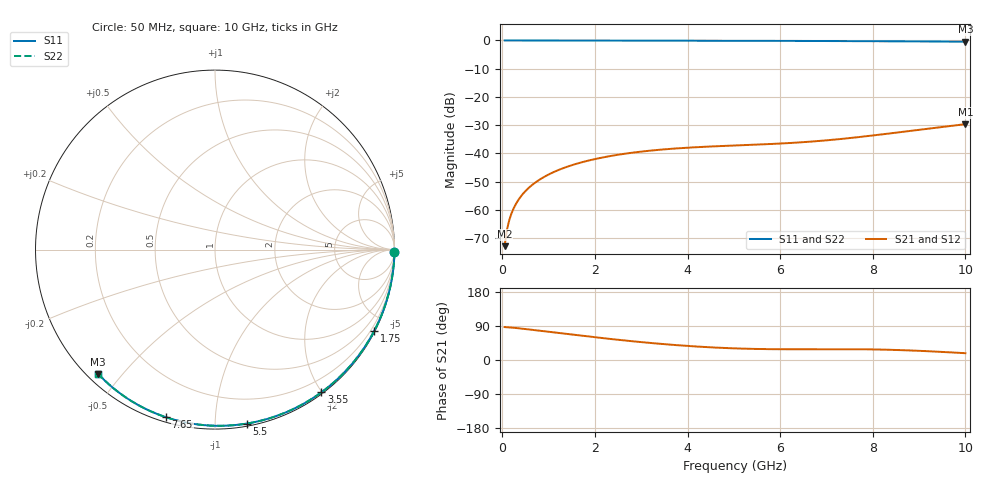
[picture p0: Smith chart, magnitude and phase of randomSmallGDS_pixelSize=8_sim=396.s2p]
! freq	dB(S11)	phase(S11)	dB(S12)	phase(S12)
!  dB(S21)	phase(S21)	dB(S22)	phase(S22)
!S-par simulation data
#  GHz  S  DB  R 50
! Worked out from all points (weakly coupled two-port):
!   200 points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, 50 MHz to 10 GHz, reference 50 ohm
!   highest |S21| = -29.65 dB at 10 GHz (marker M1); lowest = -72.9 dB at 50 MHz (marker M2)
!   lowest |S11| = -0.4 dB at 10 GHz (marker M3), VSWR 39.31, Z = 1.51 - j21.6 ohm
!   |S11| at or under -10 dB: nowhere
!   |S22| runs from -0.4 to 0.0 dB; largest |S21 - S12| = 0
!   S11 on the Smith chart (normalised r, x): 50 MHz: open; 1.75 GHz: 0.04, -4.18; 3.55 GHz: 0.02, -1.99; 5.5 GHz: 0.02, -1.20; 7.65 GHz: 0.02, -0.75; 10 GHz: 0.03, -0.43
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0.05  -0.00 -0.8  -72.88 86.9  -72.88 86.9  -0.00 -0.8
0.1  -0.00 -1.6  -67.10 86.3  -67.10 86.3  -0.00 -1.6
0.15  -0.00 -2.3  -63.68 86.0  -63.68 86.0  -0.00 -2.3
0.2  -0.00 -3.1  -61.22 85.5  -61.22 85.5  -0.00 -3.1
0.25  -0.00 -3.9  -59.31 85.0  -59.31 85.0  -0.00 -3.9
0.35  -0.00 -5.5  -56.42 83.8  -56.42 83.8  -0.00 -5.5
0.5  -0.01 -7.8  -53.36 81.7  -53.36 81.7  -0.01 -7.8
0.7  -0.01 -10.9  -50.49 78.8  -50.49 78.8  -0.01 -10.9
1  -0.02 -15.5  -47.49 74.4  -47.49 74.4  -0.02 -15.5
1.35  -0.03 -20.9  -45.03 69.2  -45.03 69.2  -0.03 -20.9
1.75  -0.03 -26.9  -43.01 63.5  -43.01 63.5  -0.03 -26.9
2.5  -0.05 -38.1  -40.48 53.3  -40.48 53.3  -0.05 -38.1
3.4  -0.07 -51.2  -38.72 42.8  -38.72 42.8  -0.07 -51.2
3.55  -0.07 -53.3  -38.51 41.3  -38.51 41.3  -0.07 -53.3
4.3  -0.09 -63.7  -37.72 34.8  -37.72 34.8  -0.09 -63.7
5.05  -0.11 -73.8  -37.19 30.5  -37.19 30.5  -0.11 -73.8
5.5  -0.13 -79.7  -36.90 29.1  -36.90 29.1  -0.13 -79.7
6.7  -0.18 -94.9  -35.79 28.5  -35.79 28.5  -0.18 -94.9
7.65  -0.24 -106.3  -34.32 28.5  -34.32 28.5  -0.24 -106.3
8.35  -0.29 -114.5  -32.97 27.0  -32.97 27.0  -0.29 -114.5
9.15  -0.36 -123.7  -31.35 23.4  -31.35 23.4  -0.36 -123.7
10  -0.44 -133.2  -29.65 17.9  -29.65 17.9  -0.44 -133.2
